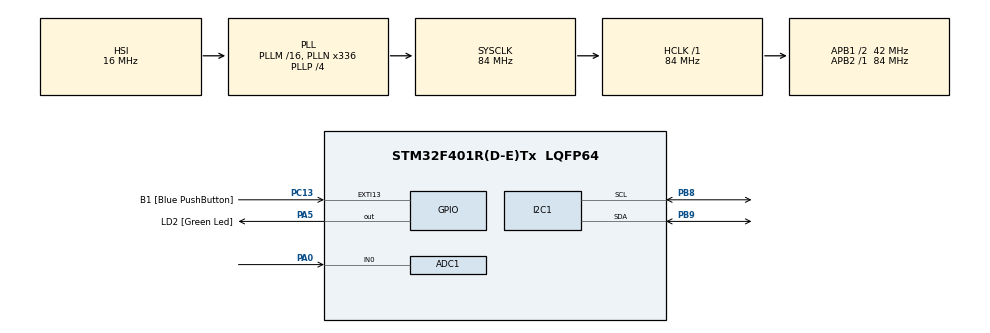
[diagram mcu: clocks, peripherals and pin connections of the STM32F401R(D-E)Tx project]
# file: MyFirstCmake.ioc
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ADC1.Channel-0\#ChannelRegularConversion=ADC_CHANNEL_0
ADC1.NbrOfConversionFlag=1
ADC1.Rank-0\#ChannelRegularConversion=1
ADC1.SamplingTime-0\#ChannelRegularConversion=ADC_SAMPLETIME_84CYCLES
ADC1.master=1
Mcu.Family=STM32F4
Mcu.Name=STM32F401R(D-E)Tx
Mcu.Package=LQFP64
NVIC.PriorityGroup=NVIC_PRIORITYGROUP_0
PA0-WKUP.Signal=ADCx_IN0
PA13.GPIO_Label=TMS
PA13.Signal=SYS_JTMS-SWDIO
PA14.GPIO_Label=TCK
PA14.Signal=SYS_JTCK-SWCLK
PA2.GPIO_Label=USART_TX
PA2.GPIO_Mode=GPIO_MODE_AF_PP
PA2.GPIO_PuPd=GPIO_NOPULL
PA2.GPIO_Speed=GPIO_SPEED_FREQ_LOW
PA2.Signal=USART2_TX
PA3.GPIO_Label=USART_RX
PA3.GPIO_Mode=GPIO_MODE_AF_PP
PA3.GPIO_PuPd=GPIO_NOPULL
PA3.GPIO_Speed=GPIO_SPEED_FREQ_LOW
PA3.Signal=USART2_RX
PA5.GPIO_Label=LD2 [Green Led]
PA5.GPIO_Mode=GPIO_MODE_OUTPUT_PP
PA5.GPIO_PuPd=GPIO_NOPULL
PA5.GPIO_Speed=GPIO_SPEED_FREQ_LOW
PA5.Signal=GPIO_Output
PB3.GPIO_Label=SWO
PB3.Signal=SYS_JTDO-SWO
PB8.Mode=I2C
PB8.Signal=I2C1_SCL
PB9.Mode=I2C
PB9.Signal=I2C1_SDA
PC13-ANTI_TAMP.GPIO_Label=B1 [Blue PushButton]
PC13-ANTI_TAMP.GPIO_ModeDefaultEXTI=GPIO_MODE_IT_FALLING
PC13-ANTI_TAMP.GPIO_PuPd=GPIO_NOPULL
PC13-ANTI_TAMP.Signal=GPXTI13
PC14-OSC32_IN.Mode=LSE-External-Oscillator
PC14-OSC32_IN.Signal=RCC_OSC32_IN
PC15-OSC32_OUT.Mode=LSE-External-Oscillator
PC15-OSC32_OUT.Signal=RCC_OSC32_OUT
PH0\ -\ OSC_IN.Signal=RCC_OSC_IN
PH1\ -\ OSC_OUT.Signal=RCC_OSC_OUT
ProjectManager.HeapSize=0x200
ProjectManager.StackSize=0x400
ProjectManager.TargetToolchain=Makefile
RCC.AHBFreq_Value=84000000
RCC.APB1CLKDivider=RCC_HCLK_DIV2
RCC.APB1Freq_Value=42000000
RCC.APB1TimFreq_Value=84000000
RCC.APB2Freq_Value=84000000
RCC.APB2TimFreq_Value=84000000
RCC.CortexFreq_Value=84000000
RCC.HCLKFreq_Value=84000000
RCC.HSE_VALUE=8000000
RCC.HSI_VALUE=16000000
RCC.PLLN=336
RCC.PLLP=RCC_PLLP_DIV4
RCC.PLLQ=7
RCC.SYSCLKFreq_VALUE=84000000
RCC.SYSCLKSource=RCC_SYSCLKSOURCE_PLLCLK
RCC.VCOOutputFreq_Value=336000000
RTC.SynchPrediv=255
SH.ADCx_IN0.0=ADC1_IN0,IN0
VP_RTC_VS_RTC_Activate.Mode=RTC_Enabled
VP_RTC_VS_RTC_Calendar.Mode=RTC_Calendar
board=NUCLEO-F401RE

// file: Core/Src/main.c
/* USER CODE BEGIN Header */
/**
  ******************************************************************************
  * @file           : main.c
  * @brief          : Main program body
  ******************************************************************************
  * @attention
  *
  * Copyright (c) 2026 STMicroelectronics.
  * All rights reserved.
  *
  * This software is licensed under terms that can be found in the LICENSE file
  * in the root directory of this software component.
  * If no LICENSE file comes with this software, it is provided AS-IS.
  *
  ******************************************************************************
  */
/* USER CODE END Header */
#include "main.h"

/* USER CODE BEGIN Includes */
#include <stdio.h>
#include <string.h>

/* USER CODE END Includes */

/* USER CODE BEGIN PTD */
typedef struct
{
  uint8_t year;
  uint8_t month;
  uint8_t day;
  uint8_t hour;
  uint8_t minute;
  uint8_t second;
} ds1307_time_t;

/* USER CODE END PTD */

/* USER CODE BEGIN PD */
#define B1_DEBOUNCE_MS        50U
#define ADC_SAMPLES            32U
#define ADC_MAX_COUNTS         4095U
#define VREF_MV                3300U
#define RREF_OHM               10000U
/* USER CODE END PD */

ADC_HandleTypeDef hadc1;

I2C_HandleTypeDef hi2c1;

RTC_HandleTypeDef hrtc;

void SystemClock_Config(void);
static void MX_GPIO_Init(void);
static void MX_I2C1_Init(void);
static void MX_RTC_Init(void);
static void MX_ADC1_Init(void);

/* USER CODE BEGIN 0 */
#define LCD_COLS              16U
#define LCD_BACKLIGHT         0x08U
#define LCD_ENABLE            0x04U
#define LCD_RS                0x01U
#define DS1307_ADDR_8BIT      (0x68U << 1)
#define I2C_DIAG_RETRY        3U
#define I2C_DIAG_READY_TO_MS  20U
#define DS1307_FORCE_SYNC_AT_BOOT 0U

static uint8_t lcd_addr_8bit = 0U;
static uint32_t last_update_ms = 0U;
static uint32_t b1_last_event_ms = 0U;
static uint8_t i2c_found_count = 0U;
static uint8_t has_lcd_27 = 0U;
static uint8_t has_lcd_3f = 0U;
static uint8_t has_rtc_68 = 0U;
static uint8_t has_eeprom_50 = 0U;
static uint8_t lcd_ready = 0U;
static volatile uint8_t force_refresh_request = 0U;
static volatile uint8_t zero_time_request = 0U;
volatile uint32_t i2c_last_error = 0U;
volatile uint8_t i2c_last_addr_7bit = 0U;
volatile uint8_t i2c_last_stage = 0U;

static uint8_t bcd_to_bin(uint8_t bcd)
{
  return (uint8_t)(((bcd >> 4) * 10U) + (bcd & 0x0FU));
}

static uint8_t bin_to_bcd(uint8_t bin)
{
  return (uint8_t)(((bin / 10U) << 4) | (bin % 10U));
}

static uint8_t month_str_to_num(const char *m)
{
  if (strncmp(m, "Jan", 3) == 0) return 1U;
  if (strncmp(m, "Feb", 3) == 0) return 2U;
  if (strncmp(m, "Mar", 3) == 0) return 3U;
  if (strncmp(m, "Apr", 3) == 0) return 4U;
  if (strncmp(m, "May", 3) == 0) return 5U;
  if (strncmp(m, "Jun", 3) == 0) return 6U;
  if (strncmp(m, "Jul", 3) == 0) return 7U;
  if (strncmp(m, "Aug", 3) == 0) return 8U;
  if (strncmp(m, "Sep", 3) == 0) return 9U;
  if (strncmp(m, "Oct", 3) == 0) return 10U;
  if (strncmp(m, "Nov", 3) == 0) return 11U;
  if (strncmp(m, "Dec", 3) == 0) return 12U;
  return 1U;
}

static HAL_StatusTypeDef ds1307_set_from_build_time(void)
{
  /* Reg 0x00..0x06: sec,min,hour,weekday,date,month,year */
  uint8_t payload[8];
  const char *d = __DATE__; /* "Mmm dd yyyy" */
  const char *t = __TIME__; /* "hh:mm:ss" */
  uint8_t month = month_str_to_num(d);
  uint8_t day = (uint8_t)(((d[4] == ' ') ? 0 : (d[4] - '0')) * 10 + (d[5] - '0'));
  uint8_t year = (uint8_t)(((d[9] - '0') * 10) + (d[10] - '0'));
  uint8_t hour = (uint8_t)(((t[0] - '0') * 10) + (t[1] - '0'));
  uint8_t minute = (uint8_t)(((t[3] - '0') * 10) + (t[4] - '0'));
  uint8_t second = (uint8_t)(((t[6] - '0') * 10) + (t[7] - '0'));

  payload[0] = 0x00U;
  payload[1] = bin_to_bcd(second); /* CH=0, second */
  payload[2] = bin_to_bcd(minute); /* minute */
  payload[3] = bin_to_bcd(hour);   /* hour (24h) */
  payload[4] = bin_to_bcd(1U);   /* weekday=1 */
  payload[5] = bin_to_bcd(day);   /* date */
  payload[6] = bin_to_bcd(month); /* month */
  payload[7] = bin_to_bcd(year);  /* year */

  if (HAL_I2C_Master_Transmit(&hi2c1, DS1307_ADDR_8BIT, payload, sizeof(payload), 100U) != HAL_OK)
  {
    i2c_last_error = hi2c1.ErrorCode;
    i2c_last_addr_7bit = 0x68U;
    i2c_last_stage = 3U;
    return HAL_ERROR;
  }

  return HAL_OK;
}

static HAL_StatusTypeDef ds1307_set_time_zero(void)
{
  /* Reg 0x00..0x02: sec,min,hour (24h). Keep CH=0 to run oscillator. */
  uint8_t payload[4];
  payload[0] = 0x00U;
  payload[1] = 0x00U;
  payload[2] = 0x00U;
  payload[3] = 0x00U;

  if (HAL_I2C_Master_Transmit(&hi2c1, DS1307_ADDR_8BIT, payload, sizeof(payload), 100U) != HAL_OK)
  {
    i2c_last_error = hi2c1.ErrorCode;
    i2c_last_addr_7bit = 0x68U;
    i2c_last_stage = 7U;
    return HAL_ERROR;
  }

  return HAL_OK;
}

static HAL_StatusTypeDef lcd_write(uint8_t data)
{
  return HAL_I2C_Master_Transmit(&hi2c1, lcd_addr_8bit, &data, 1U, HAL_MAX_DELAY);
}

static HAL_StatusTypeDef i2c_is_ready_retry(uint8_t addr_7bit)
{
  uint32_t try_idx;
  HAL_StatusTypeDef st = HAL_ERROR;

  for (try_idx = 0U; try_idx < I2C_DIAG_RETRY; try_idx++)
  {
    st = HAL_I2C_IsDeviceReady(&hi2c1, (uint16_t)(addr_7bit << 1), 2U, I2C_DIAG_READY_TO_MS);
    if (st == HAL_OK)
    {
      i2c_last_error = 0U;
      return HAL_OK;
    }
    i2c_last_error = hi2c1.ErrorCode;
    i2c_last_addr_7bit = addr_7bit;
  }

  return st;
}

static void lcd_pulse(uint8_t data)
{
  (void)lcd_write((uint8_t)(data | LCD_ENABLE | LCD_BACKLIGHT));
  HAL_Delay(1);
  (void)lcd_write((uint8_t)((data & (uint8_t)(~LCD_ENABLE)) | LCD_BACKLIGHT));
  HAL_Delay(1);
}

static void lcd_send4(uint8_t nibble_rs)
{
  uint8_t data = (uint8_t)(nibble_rs | LCD_BACKLIGHT);
  (void)lcd_write(data);
  lcd_pulse(data);
}

static void lcd_send(uint8_t value, uint8_t rs)
{
  lcd_send4((uint8_t)((value & 0xF0U) | rs));
  lcd_send4((uint8_t)(((value << 4) & 0xF0U) | rs));
}

static void lcd_cmd(uint8_t cmd)
{
  lcd_send(cmd, 0U);
}

static void lcd_data(uint8_t data)
{
  lcd_send(data, LCD_RS);
}

static HAL_StatusTypeDef lcd_detect_address(void)
{
  uint8_t a;
  for (a = 0x20U; a <= 0x3FU; a++)
  {
    if (i2c_is_ready_retry(a) == HAL_OK)
    {
      lcd_addr_8bit = (uint8_t)(a << 1);
      return HAL_OK;
    }
  }

  return HAL_ERROR;
}

static HAL_StatusTypeDef lcd_init(void)
{
  if (lcd_detect_address() != HAL_OK)
  {
    return HAL_ERROR;
  }

  HAL_Delay(50);
  lcd_send4(0x30U);
  HAL_Delay(5);
  lcd_send4(0x30U);
  HAL_Delay(1);
  lcd_send4(0x30U);
  HAL_Delay(1);
  lcd_send4(0x20U);
  HAL_Delay(1);

  lcd_cmd(0x28U);
  lcd_cmd(0x08U);
  lcd_cmd(0x01U);
  HAL_Delay(2);
  lcd_cmd(0x06U);
  lcd_cmd(0x0CU);
  return HAL_OK;
}

static void lcd_set_cursor(uint8_t row, uint8_t col)
{
  const uint8_t row_offset[] = {0x00U, 0x40U, 0x14U, 0x54U};
  lcd_cmd((uint8_t)(0x80U | (row_offset[row] + col)));
}

static void lcd_print_line(uint8_t row, const char *text)
{
  char line[LCD_COLS + 1];
  size_t len = strlen(text);
  size_t i;

  if (len > LCD_COLS)
  {
    len = LCD_COLS;
  }
  memset(line, ' ', LCD_COLS);
  memcpy(line, text, len);
  line[LCD_COLS] = '\0';

  lcd_set_cursor(row, 0U);
  for (i = 0U; i < LCD_COLS; i++)
  {
    lcd_data((uint8_t)line[i]);
  }
}

static HAL_StatusTypeDef ds1307_read(ds1307_time_t *t)
{
  uint8_t reg = 0x00U;
  uint8_t raw[7] = {0};

  if (HAL_I2C_Master_Transmit(&hi2c1, DS1307_ADDR_8BIT, &reg, 1U, 100U) != HAL_OK)
  {
    i2c_last_error = hi2c1.ErrorCode;
    i2c_last_addr_7bit = 0x68U;
    i2c_last_stage = 1U;
    return HAL_ERROR;
  }

  if (HAL_I2C_Master_Receive(&hi2c1, DS1307_ADDR_8BIT, raw, 7U, 100U) != HAL_OK)
  {
    i2c_last_error = hi2c1.ErrorCode;
    i2c_last_addr_7bit = 0x68U;
    i2c_last_stage = 2U;
    return HAL_ERROR;
  }

  if ((raw[0] & 0x80U) != 0U)
  {
    /* DS1307 CH bit = 1 means oscillator stopped. Re-initialize once. */
    if (ds1307_set_from_build_time() != HAL_OK)
    {
      return HAL_ERROR;
    }

    if (HAL_I2C_Master_Transmit(&hi2c1, DS1307_ADDR_8BIT, &reg, 1U, 100U) != HAL_OK)
    {
      i2c_last_error = hi2c1.ErrorCode;
      i2c_last_addr_7bit = 0x68U;
      i2c_last_stage = 4U;
      return HAL_ERROR;
    }
    if (HAL_I2C_Master_Receive(&hi2c1, DS1307_ADDR_8BIT, raw, 7U, 100U) != HAL_OK)
    {
      i2c_last_error = hi2c1.ErrorCode;
      i2c_last_addr_7bit = 0x68U;
      i2c_last_stage = 5U;
      return HAL_ERROR;
    }
    if ((raw[0] & 0x80U) != 0U)
    {
      i2c_last_stage = 6U;
      return HAL_ERROR;
    }
  }

  t->second = bcd_to_bin((uint8_t)(raw[0] & 0x7FU));
  t->minute = bcd_to_bin((uint8_t)(raw[1] & 0x7FU));
  t->hour = bcd_to_bin((uint8_t)(raw[2] & 0x3FU));
  t->day = bcd_to_bin((uint8_t)(raw[4] & 0x3FU));
  t->month = bcd_to_bin((uint8_t)(raw[5] & 0x1FU));
  t->year = bcd_to_bin(raw[6]);
  return HAL_OK;
}

static void i2c_scan_known(void)
{
  uint8_t a;
  i2c_found_count = 0U;
  has_lcd_27 = 0U;
  has_lcd_3f = 0U;
  has_rtc_68 = 0U;
  has_eeprom_50 = 0U;

  for (a = 0x08U; a <= 0x77U; a++)
  {
    if (i2c_is_ready_retry(a) == HAL_OK)
    {
      i2c_found_count++;
      if (a == 0x27U) has_lcd_27 = 1U;
      if (a == 0x3FU) has_lcd_3f = 1U;
      if (a == 0x68U) has_rtc_68 = 1U;
      if (a == 0x50U) has_eeprom_50 = 1U;
    }
  }
}

static HAL_StatusTypeDef adc_read_avg_u12(uint16_t *avg)
{
  uint32_t sum = 0U;
  uint32_t i;

  for (i = 0U; i < ADC_SAMPLES; i++)
  {
    if (HAL_ADC_Start(&hadc1) != HAL_OK) return HAL_ERROR;
    if (HAL_ADC_PollForConversion(&hadc1, 10U) != HAL_OK)
    {
      (void)HAL_ADC_Stop(&hadc1);
      return HAL_ERROR;
    }
    sum += HAL_ADC_GetValue(&hadc1);
    if (HAL_ADC_Stop(&hadc1) != HAL_OK) return HAL_ERROR;
  }

  *avg = (uint16_t)(sum / ADC_SAMPLES);
  return HAL_OK;
}

static uint8_t calc_rx_ohm_from_adc(uint16_t adc, uint32_t *rx_ohm, uint32_t *vout_mv)
{
  if (adc >= (ADC_MAX_COUNTS - 1U))
  {
    *vout_mv = VREF_MV;
    *rx_ohm = 0U;
    return 0U; /* over range / open */
  }

  *vout_mv = (VREF_MV * (uint32_t)adc) / ADC_MAX_COUNTS;
  *rx_ohm = (RREF_OHM * (uint32_t)adc) / (ADC_MAX_COUNTS - (uint32_t)adc);
  return 1U;
}

static void format_resistance(char *line, size_t n, uint32_t rx_ohm, uint8_t valid, uint32_t vout_mv)
{
  uint32_t v_int = vout_mv / 1000U;
  uint32_t v_frac2 = (vout_mv % 1000U) / 10U;

  if (valid == 0U)
  {
    (void)snprintf(line, n, "R:OVER %lu.%02luV", v_int, v_frac2);
    return;
  }

  if (rx_ohm >= 1000U)
  {
    uint32_t k = rx_ohm / 1000U;
    uint32_t frac1 = (rx_ohm % 1000U) / 100U; /* 1 digit */
    (void)snprintf(line, n, "R:%lu.%1luk %lu.%02luV", k, frac1, v_int, v_frac2);
  }
  else
  {
    (void)snprintf(line, n, "R:%luohm %lu.%02luV", rx_ohm, v_int, v_frac2);
  }
}

/* USER CODE END 0 */

int main(void)
{

  /* MCU Configuration--------------------------------------------------------*/

  /* Reset of all peripherals, Initializes the Flash interface and the Systick. */
  HAL_Init();

  /* Configure the system clock */
  SystemClock_Config();

  /* Initialize all configured peripherals */
  MX_GPIO_Init();
  MX_I2C1_Init();
  MX_RTC_Init();
  MX_ADC1_Init();
  /* USER CODE BEGIN 2 */
  i2c_scan_known();

#if DS1307_FORCE_SYNC_AT_BOOT
  if (has_rtc_68)
  {
    (void)ds1307_set_from_build_time();
  }
#endif

  if (lcd_init() == HAL_OK)
  {
    char line1[17];
    char line2[17];
    lcd_ready = 1U;

    (void)snprintf(line1, sizeof(line1), "I2C DEV:%02u", i2c_found_count);
    (void)snprintf(line2, sizeof(line2), "27:%u 3F:%u 68:%u",
                   has_lcd_27 ? 1U : 0U, has_lcd_3f ? 1U : 0U, has_rtc_68 ? 1U : 0U);
    lcd_print_line(0U, line1);
    lcd_print_line(1U, line2);
    HAL_Delay(1200);
  }
  last_update_ms = HAL_GetTick();
  b1_last_event_ms = HAL_GetTick();

  /* USER CODE END 2 */

  /* Infinite loop */
  while (1)
  {

    /* USER CODE BEGIN 3 */
    if (((HAL_GetTick() - last_update_ms) >= 200U) || (force_refresh_request != 0U))
    {
      ds1307_time_t now = {0};
      char line1[17];
      char line2[17];

      uint16_t adc_avg = 0U;
      uint32_t rx_ohm = 0U;
      uint32_t vout_mv = 0U;
      uint8_t rx_valid = 0U;

      last_update_ms = HAL_GetTick();
      force_refresh_request = 0U;

      if (lcd_ready)
      {
        if (zero_time_request != 0U)
        {
          (void)ds1307_set_time_zero();
          zero_time_request = 0U;
        }

        if (adc_read_avg_u12(&adc_avg) == HAL_OK)
        {
          rx_valid = calc_rx_ohm_from_adc(adc_avg, &rx_ohm, &vout_mv);
          format_resistance(line1, sizeof(line1), rx_ohm, rx_valid, vout_mv);
        }
        else
        {
          (void)snprintf(line1, sizeof(line1), "ADC READ ERROR");
        }

        if (ds1307_read(&now) == HAL_OK)
        {
          (void)snprintf(line2, sizeof(line2), "20%02u-%02u-%02u",
                         now.year, now.month, now.day);
        }
        else
        {
          (void)snprintf(line2, sizeof(line2), "RTC READ ERROR");
        }

        lcd_print_line(0U, line1);
        lcd_print_line(1U, line2);
      }
      else
      {
        HAL_GPIO_TogglePin(LD2_GPIO_Port, LD2_Pin);
      }
    }
    HAL_Delay(5);

  }
  /* USER CODE END 3 */
}

void SystemClock_Config(void)
{
  RCC_OscInitTypeDef RCC_OscInitStruct = {0};
  RCC_ClkInitTypeDef RCC_ClkInitStruct = {0};

  /** Configure the main internal regulator output voltage
  */
  __HAL_RCC_PWR_CLK_ENABLE();
  __HAL_PWR_VOLTAGESCALING_CONFIG(PWR_REGULATOR_VOLTAGE_SCALE2);

  /** Initializes the RCC Oscillators according to the specified parameters
  * in the RCC_OscInitTypeDef structure.
  */
  RCC_OscInitStruct.OscillatorType = RCC_OSCILLATORTYPE_HSI|RCC_OSCILLATORTYPE_LSI;
  RCC_OscInitStruct.HSIState = RCC_HSI_ON;
  RCC_OscInitStruct.HSICalibrationValue = RCC_HSICALIBRATION_DEFAULT;
  RCC_OscInitStruct.LSIState = RCC_LSI_ON;
  RCC_OscInitStruct.PLL.PLLState = RCC_PLL_ON;
  RCC_OscInitStruct.PLL.PLLSource = RCC_PLLSOURCE_HSI;
  RCC_OscInitStruct.PLL.PLLM = 16;
  RCC_OscInitStruct.PLL.PLLN = 336;
  RCC_OscInitStruct.PLL.PLLP = RCC_PLLP_DIV4;
  RCC_OscInitStruct.PLL.PLLQ = 7;
  if (HAL_RCC_OscConfig(&RCC_OscInitStruct) != HAL_OK)
  {
    Error_Handler();
  }

  /** Initializes the CPU, AHB and APB buses clocks
  */
  RCC_ClkInitStruct.ClockType = RCC_CLOCKTYPE_HCLK|RCC_CLOCKTYPE_SYSCLK
                              |RCC_CLOCKTYPE_PCLK1|RCC_CLOCKTYPE_PCLK2;
  RCC_ClkInitStruct.SYSCLKSource = RCC_SYSCLKSOURCE_PLLCLK;
  RCC_ClkInitStruct.AHBCLKDivider = RCC_SYSCLK_DIV1;
  RCC_ClkInitStruct.APB1CLKDivider = RCC_HCLK_DIV2;
  RCC_ClkInitStruct.APB2CLKDivider = RCC_HCLK_DIV1;

  if (HAL_RCC_ClockConfig(&RCC_ClkInitStruct, FLASH_LATENCY_2) != HAL_OK)
  {
    Error_Handler();
  }
}

static void MX_ADC1_Init(void)
{

  ADC_ChannelConfTypeDef sConfig = {0};

  /** Configure the global features of the ADC (Clock, Resolution, Data Alignment and number of conversion)
  */
  hadc1.Instance = ADC1;
  hadc1.Init.ClockPrescaler = ADC_CLOCK_SYNC_PCLK_DIV4;
  hadc1.Init.Resolution = ADC_RESOLUTION_12B;
  hadc1.Init.ScanConvMode = DISABLE;
  hadc1.Init.ContinuousConvMode = DISABLE;
  hadc1.Init.DiscontinuousConvMode = DISABLE;
  hadc1.Init.ExternalTrigConvEdge = ADC_EXTERNALTRIGCONVEDGE_NONE;
  hadc1.Init.ExternalTrigConv = ADC_SOFTWARE_START;
  hadc1.Init.DataAlign = ADC_DATAALIGN_RIGHT;
  hadc1.Init.NbrOfConversion = 1;
  hadc1.Init.DMAContinuousRequests = DISABLE;
  hadc1.Init.EOCSelection = ADC_EOC_SINGLE_CONV;
  if (HAL_ADC_Init(&hadc1) != HAL_OK)
  {
    Error_Handler();
  }

  /** Configure for the selected ADC regular channel its corresponding rank in the sequencer and its sample time.
  */
  sConfig.Channel = ADC_CHANNEL_0;
  sConfig.Rank = 1;
  sConfig.SamplingTime = ADC_SAMPLETIME_84CYCLES;
  if (HAL_ADC_ConfigChannel(&hadc1, &sConfig) != HAL_OK)
  {
    Error_Handler();
  }

}

static void MX_I2C1_Init(void)
{

  hi2c1.Instance = I2C1;
  hi2c1.Init.ClockSpeed = 100000;
  hi2c1.Init.DutyCycle = I2C_DUTYCYCLE_2;
  hi2c1.Init.OwnAddress1 = 0;
  hi2c1.Init.AddressingMode = I2C_ADDRESSINGMODE_7BIT;
  hi2c1.Init.DualAddressMode = I2C_DUALADDRESS_DISABLE;
  hi2c1.Init.OwnAddress2 = 0;
  hi2c1.Init.GeneralCallMode = I2C_GENERALCALL_DISABLE;
  hi2c1.Init.NoStretchMode = I2C_NOSTRETCH_DISABLE;
  if (HAL_I2C_Init(&hi2c1) != HAL_OK)
  {
    Error_Handler();
  }

}

static void MX_RTC_Init(void)
{

  RTC_TimeTypeDef sTime = {0};
  RTC_DateTypeDef sDate = {0};

  /** Initialize RTC Only
  */
  hrtc.Instance = RTC;
  hrtc.Init.HourFormat = RTC_HOURFORMAT_24;
  hrtc.Init.AsynchPrediv = 127;
  hrtc.Init.SynchPrediv = 255;
  hrtc.Init.OutPut = RTC_OUTPUT_DISABLE;
  hrtc.Init.OutPutPolarity = RTC_OUTPUT_POLARITY_HIGH;
  hrtc.Init.OutPutType = RTC_OUTPUT_TYPE_OPENDRAIN;
  if (HAL_RTC_Init(&hrtc) != HAL_OK)
  {
    Error_Handler();
  }

  /** Initialize RTC and set the Time and Date
  */
  sTime.Hours = 0x0;
  sTime.Minutes = 0x0;
  sTime.Seconds = 0x0;
  sTime.DayLightSaving = RTC_DAYLIGHTSAVING_NONE;
  sTime.StoreOperation = RTC_STOREOPERATION_RESET;
  if (HAL_RTC_SetTime(&hrtc, &sTime, RTC_FORMAT_BCD) != HAL_OK)
  {
    Error_Handler();
  }
  sDate.WeekDay = RTC_WEEKDAY_MONDAY;
  sDate.Month = RTC_MONTH_JANUARY;
  sDate.Date = 0x1;
  sDate.Year = 0x0;

  if (HAL_RTC_SetDate(&hrtc, &sDate, RTC_FORMAT_BCD) != HAL_OK)
  {
    Error_Handler();
  }

}

static void MX_GPIO_Init(void)
{
  GPIO_InitTypeDef GPIO_InitStruct = {0};

  /* GPIO Ports Clock Enable */
  __HAL_RCC_GPIOC_CLK_ENABLE();
  __HAL_RCC_GPIOH_CLK_ENABLE();
  __HAL_RCC_GPIOA_CLK_ENABLE();
  __HAL_RCC_GPIOB_CLK_ENABLE();

  /*Configure GPIO pin Output Level */
  HAL_GPIO_WritePin(LD2_GPIO_Port, LD2_Pin, GPIO_PIN_RESET);

  /*Configure GPIO pin : B1_Pin */
  GPIO_InitStruct.Pin = B1_Pin;
  GPIO_InitStruct.Mode = GPIO_MODE_IT_FALLING;
  GPIO_InitStruct.Pull = GPIO_NOPULL;
  HAL_GPIO_Init(B1_GPIO_Port, &GPIO_InitStruct);

  /*Configure GPIO pins : USART_TX_Pin USART_RX_Pin */
  GPIO_InitStruct.Pin = USART_TX_Pin|USART_RX_Pin;
  GPIO_InitStruct.Mode = GPIO_MODE_AF_PP;
  GPIO_InitStruct.Pull = GPIO_NOPULL;
  GPIO_InitStruct.Speed = GPIO_SPEED_FREQ_LOW;
  GPIO_InitStruct.Alternate = GPIO_AF7_USART2;
  HAL_GPIO_Init(GPIOA, &GPIO_InitStruct);

  /*Configure GPIO pin : LD2_Pin */
  GPIO_InitStruct.Pin = LD2_Pin;
  GPIO_InitStruct.Mode = GPIO_MODE_OUTPUT_PP;
  GPIO_InitStruct.Pull = GPIO_NOPULL;
  GPIO_InitStruct.Speed = GPIO_SPEED_FREQ_LOW;
  HAL_GPIO_Init(LD2_GPIO_Port, &GPIO_InitStruct);

}

/* USER CODE BEGIN 4 */
void HAL_GPIO_EXTI_Callback(uint16_t GPIO_Pin)
{
  uint32_t now = HAL_GetTick();

  if (GPIO_Pin != B1_Pin)
  {
    return;
  }

  if ((now - b1_last_event_ms) < B1_DEBOUNCE_MS)
  {
    return;
  }

  b1_last_event_ms = now;
  zero_time_request = 1U;
  force_refresh_request = 1U;
}

/* USER CODE END 4 */

void Error_Handler(void)
{
  __disable_irq();
  while (1)
  {
  }
}
